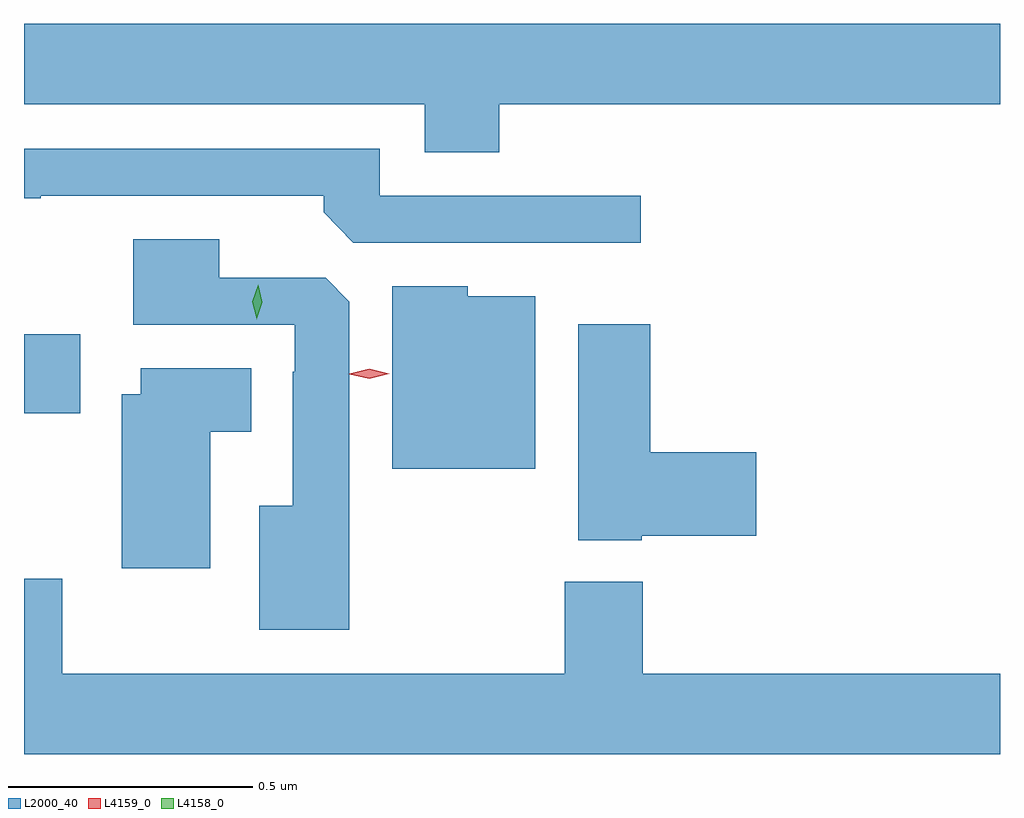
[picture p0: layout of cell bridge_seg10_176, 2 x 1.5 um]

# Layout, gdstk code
import gdstk
lib = gdstk.Library(unit=1e-6, precision=1e-09)
def R(c, l, rs):  # rectangles x0, y0, x1, y1
    for r in rs: c.add(gdstk.rectangle(r[:2], r[2:], *l))
def P(c, l, *ps):  # polygons
    for p in ps: c.add(gdstk.Polygon(p, *l))
L2000_40 = (2000, 40)
L4158_0 = (4158, 0)
L4159_0 = (4159, 0)

bridge_seg10_176 = lib.new_cell('bridge_seg10_176')
R(bridge_seg10_176, L2000_40, [(209.724,1287.694,209.839,1287.856)])
P(bridge_seg10_176, L2000_40, [(210.698,1288.328),(211.724,1288.328),(211.724,1288.492),(209.724,1288.492),(209.724,1288.328),(210.545,1288.328),(210.545,1288.229),(210.698,1288.229)],
  [(210.988,1288.14),(210.453,1288.14),(210.453,1288.236),(209.724,1288.236),(209.724,1288.135),(209.758,1288.135),(209.758,1288.14),(210.338,1288.14),(210.338,1288.106),(210.399,1288.044),(210.988,1288.044)],
  [(210.391,1287.923),(210.342,1287.972),(210.124,1287.972),(210.124,1288.051),(209.948,1288.051),(209.948,1287.876),(210.279,1287.876),(210.279,1287.779),(210.275,1287.779),(210.275,1287.505),(210.206,1287.505),(210.206,1287.251),(210.391,1287.251)],
  [(210.772,1287.934),(210.633,1287.934),(210.633,1287.955),(210.479,1287.955),(210.479,1287.581),(210.772,1287.581)],
  [(210.99,1287.443),(211.225,1287.443),(211.225,1287.614),(211.007,1287.614),(211.007,1287.877),(210.86,1287.877),(210.86,1287.434),(210.99,1287.434)],
  [(210.106,1287.656),(210.19,1287.656),(210.19,1287.787),(209.963,1287.787),(209.963,1287.733),(209.924,1287.733),(209.924,1287.377),(210.106,1287.377)],
  [(211.724,1287.16),(210.992,1287.16),(210.992,1287.349),(210.832,1287.349),(210.832,1287.16),(209.802,1287.16),(209.802,1287.355),(209.724,1287.355),(209.724,1286.996),(211.724,1286.996)])
P(bridge_seg10_176, L4158_0, [(210.201,1287.887),(210.201,1287.888),(210.192,1287.923),(210.204,1287.958),(210.204,1287.958),(210.204,1287.958),(210.212,1287.922),(210.201,1287.888)])
P(bridge_seg10_176, L4159_0, [(210.431,1287.765),(210.39,1287.774),(210.39,1287.775),(210.39,1287.775),(210.431,1287.785),(210.472,1287.775),(210.472,1287.775),(210.472,1287.775)])

lib.write_gds('bridge_seg10_176.gds')
